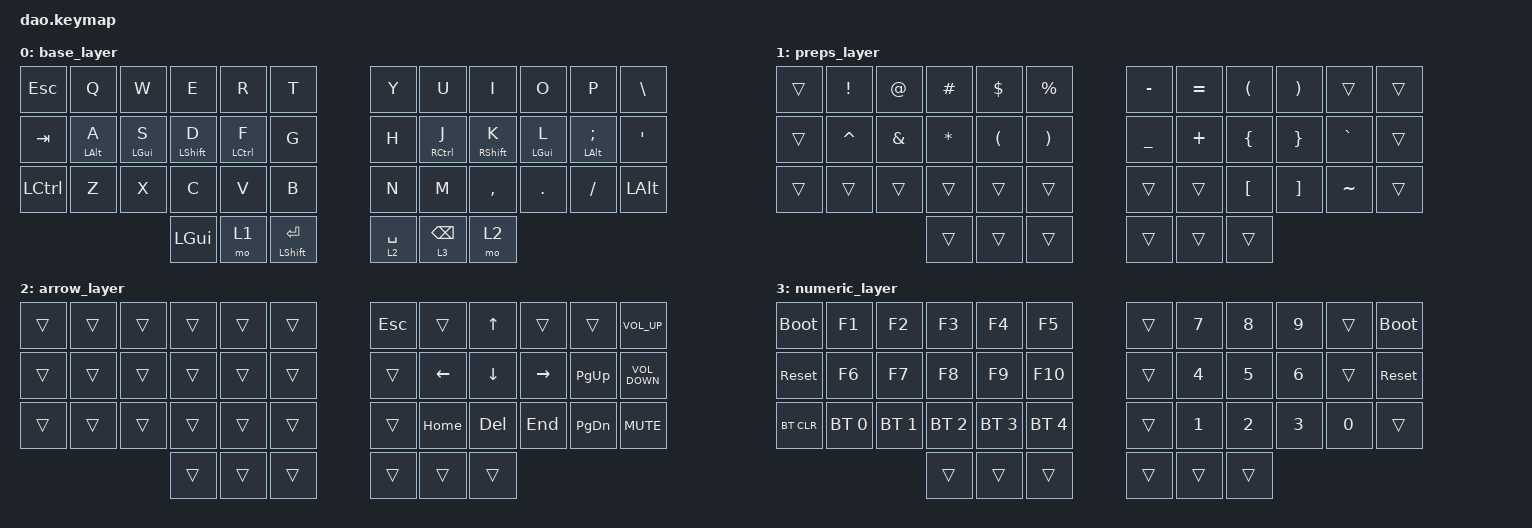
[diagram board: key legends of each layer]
/*
 * Copyright (c) 2021 Rafael Yumagulov
 *
 * SPDX-License-Identifier: MIT
 */

#include <behaviors.dtsi>
#include <dt-bindings/zmk/bt.h>
#include <dt-bindings/zmk/keys.h>

#define DEF 0
#define LWR 1
#define RSE 2
#define ADJ 3

&lt {
    quick_tap_ms = <200>;
};

&mt {
    quick_tap_ms = <200>;
};

/ {
    chosen {
        zmk,matrix_transform = &default_transform;

        // zmk,matrix_transform = &extra_keys_transform;
    };
};

/ {
    combos {
        compatible = "zmk,combos";

        prev_desktop {
            bindings = <&prev_desktop>;
            key-positions = <1 2 3>;
        };

        next_desktop {
            bindings = <&next_desktop>;
            key-positions = <8 9 10>;
        };

        up {
            bindings = <&kp UP_ARROW>;
            key-positions = <8 19>;
        };

        down {
            bindings = <&kp DOWN_ARROW>;
            key-positions = <19 32>;
        };

        left {
            bindings = <&kp LEFT>;
            key-positions = <19 20>;
        };

        right {
            bindings = <&kp RIGHT>;
            key-positions = <20 21>;
        };

        numeric_layer {
            bindings = <&mo 3>;
            key-positions = <15 16>;
        };

        tab {
            bindings = <&kp TAB>;
            key-positions = <13 14>;
        };

        minus {
            bindings = <&kp MINUS>;
            key-positions = <6 7>;
        };

        underscore {
            bindings = <&kp UNDERSCORE>;
            key-positions = <18 19>;
        };
    };

    macros {
        prev_desktop: prev_desktop {
            compatible = "zmk,behavior-macro";
            label = "PREV_DESKTOP";
            #binding-cells = <0>;
            bindings =
                <&macro_press>,
                <&kp LEFT_CONTROL>,
                <&macro_tap>,
                <&kp LEFT_ARROW>,
                <&macro_release>,
                <&kp LEFT_CONTROL>;
        };
        next_desktop: next_desktop {
            compatible = "zmk,behavior-macro";
            label = "NEXT_DESKTOP";
            #binding-cells = <0>;
            bindings =
                <&macro_press>,
                <&kp LEFT_CONTROL>,
                <&macro_tap>,
                <&kp RIGHT>,
                <&macro_release>,
                <&kp LEFT_CONTROL>;
        };
    };

    behaviors {
        hrm: hrm {
            compatible = "zmk,behavior-hold-tap";
            label = "HOMEROW_MODS";
            bindings =
                <&kp>,
                <&kp>;

            #binding-cells = <2>;
            tapping-term-ms = <200>;
            flavor = "tap-preferred";
            quick-tap-ms = <0>;
        };
    };

    keymap {
        compatible = "zmk,keymap";

        base_layer {
            bindings = <
  &kp ESC            &kp Q            &kp W              &kp E                &kp R                 &kp T        &kp Y                 &kp U               &kp I            &kp O               &kp P   &kp BACKSLASH
  &kp TAB  &hrm LEFT_ALT A  &hrm LEFT_GUI S  &hrm LEFT_SHIFT D  &hrm LEFT_CONTROL F                 &kp G        &kp H  &hrm RIGHT_CONTROL J  &hrm RIGHT_SHIFT K  &hrm LEFT_GUI L  &hrm LEFT_ALT SEMI  &kp APOSTROPHE
&kp LCTRL            &kp Z            &kp X              &kp C                &kp V                 &kp B        &kp N                 &kp M           &kp COMMA          &kp DOT            &kp FSLH    &kp LEFT_ALT
                                                  &kp LEFT_GUI                &mo 1  &mt LEFT_SHIFT ENTER  &lt 2 SPACE       &lt 3 BACKSPACE               &mo 2
            >;
        };

        preps_layer {
            bindings = <
&trans  &kp EXCLAMATION         &kp AT  &kp HASH  &kp DOLLAR  &kp PERCENT       &kp MINUS  &kp EQUAL  &kp LEFT_PARENTHESIS  &kp RIGHT_PARENTHESIS     &trans  &trans
&trans        &kp CARET  &kp AMPERSAND  &kp STAR    &kp LPAR     &kp RPAR  &kp UNDERSCORE   &kp PLUS        &kp LEFT_BRACE        &kp RIGHT_BRACE  &kp GRAVE  &trans
&trans           &trans         &trans    &trans      &trans       &trans          &trans     &trans      &kp LEFT_BRACKET      &kp RIGHT_BRACKET  &kp TILDE  &trans
                                          &trans      &trans       &trans          &trans     &trans                &trans
            >;
        };

        arrow_layer {
            bindings = <
&trans  &trans  &trans  &trans  &trans  &trans  &kp ESCAPE    &trans  &kp UP_ARROW     &trans         &trans    &kp C_VOLUME_UP
&trans  &trans  &trans  &trans  &trans  &trans      &trans  &kp LEFT      &kp DOWN  &kp RIGHT    &kp PAGE_UP  &kp C_VOLUME_DOWN
&trans  &trans  &trans  &trans  &trans  &trans      &trans  &kp HOME       &kp DEL    &kp END  &kp PAGE_DOWN         &kp K_MUTE
                        &trans  &trans  &trans      &trans    &trans        &trans
            >;
        };

        numeric_layer {
            bindings = <
&bootloader        &kp F1        &kp F2        &kp F3        &kp F4        &kp F5  &trans  &kp NUMBER_7  &kp NUMBER_8  &kp NUMBER_9        &trans  &bootloader
 &sys_reset        &kp F6        &kp F7        &kp F8        &kp F9       &kp F10  &trans  &kp NUMBER_4  &kp NUMBER_5  &kp NUMBER_6        &trans   &sys_reset
 &bt BT_CLR  &bt BT_SEL 0  &bt BT_SEL 1  &bt BT_SEL 2  &bt BT_SEL 3  &bt BT_SEL 4  &trans  &kp NUMBER_1  &kp NUMBER_2  &kp NUMBER_3  &kp NUMBER_0       &trans
                                               &trans        &trans        &trans  &trans        &trans        &trans
            >;
        };
    };
};
